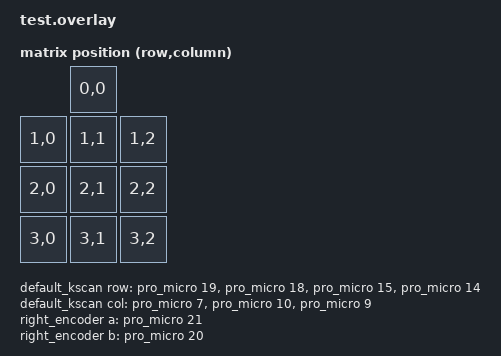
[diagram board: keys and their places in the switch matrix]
#include <dt-bindings/zmk/matrix_transform.h>

/ {
    chosen {
        zmk,kscan = &default_kscan;
        zmk,matrix_transform = &default_transform;
    };

    default_kscan: kscan {
        compatible = "zmk,kscan-gpio-matrix";
        diode-direction = "col2row";

        col-gpios = <&pro_micro 7 GPIO_ACTIVE_HIGH>,
                    <&pro_micro 10 GPIO_ACTIVE_HIGH>,
                    <&pro_micro 9 GPIO_ACTIVE_HIGH>;
    
        row-gpios = <&pro_micro 19 (GPIO_ACTIVE_HIGH | GPIO_PULL_DOWN)>,
                    <&pro_micro 18 (GPIO_ACTIVE_HIGH | GPIO_PULL_DOWN)>,
                    <&pro_micro 15 (GPIO_ACTIVE_HIGH | GPIO_PULL_DOWN)>,
                    <&pro_micro 14 (GPIO_ACTIVE_HIGH | GPIO_PULL_DOWN)>;
    };

        default_transform: matrix_transform {
            compatible = "zmk,matrix-transform";
            rows = <4>;
            columns = <3>;

        map = <
                    RC(0,0)
            RC(1,0) RC(1,1) RC(1,2)
            RC(2,0) RC(2,1) RC(2,2)
            RC(3,0) RC(3,1) RC(3,2)
        >;
    };

        right_encoder: encoder_right {
        compatible = "alps,ec11";
        a-gpios = <&pro_micro 21 (GPIO_ACTIVE_HIGH | GPIO_PULL_UP)>;
        b-gpios = <&pro_micro 20 (GPIO_ACTIVE_HIGH | GPIO_PULL_UP)>;
        steps = <80>;
        status = "disabled";
    };

        sensors: sensors {
            compatible = "zmk,keymap-sensors";
            sensors = <&right_encoder>;
            triggers-per-rotation = <20>;
        };
};
